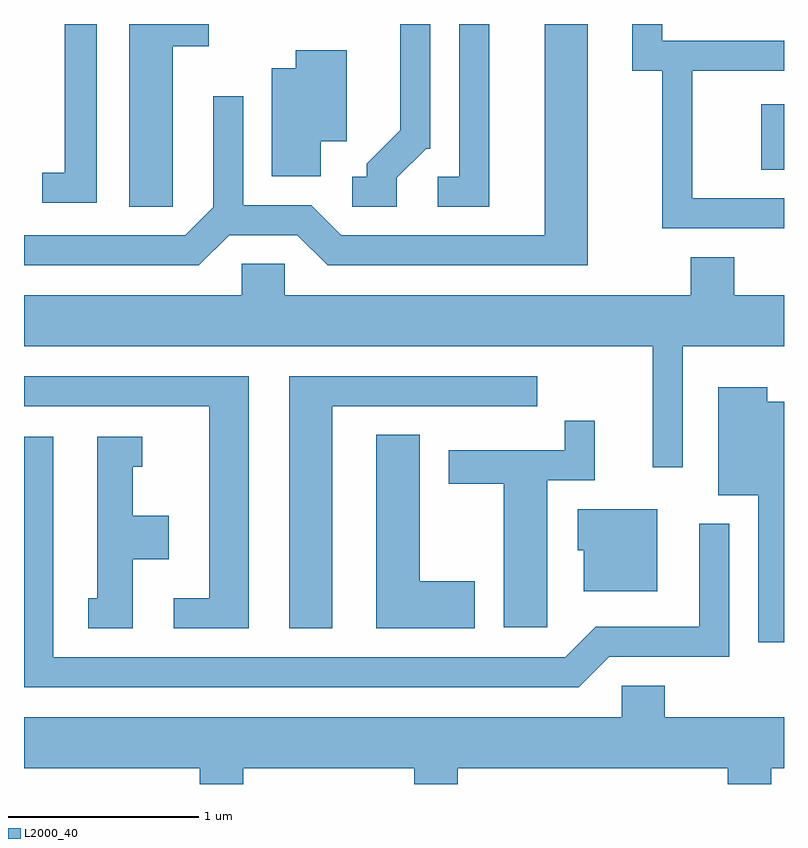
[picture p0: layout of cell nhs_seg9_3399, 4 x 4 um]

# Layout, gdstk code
import gdstk
lib = gdstk.Library(unit=1e-6, precision=1e-09)
def R(c, l, rs):  # rectangles x0, y0, x1, y1
    for r in rs: c.add(gdstk.rectangle(r[:2], r[2:], *l))
def P(c, l, *ps):  # polygons
    for p in ps: c.add(gdstk.Polygon(p, *l))
L2000_40 = (2000, 40)

nhs_seg9_3399 = lib.new_cell('nhs_seg9_3399')
R(nhs_seg9_3399, L2000_40, [(289.491,1961.666,289.611,1962.009)])
P(nhs_seg9_3399, L2000_40, [(286.692,1961.321),(287.049,1961.321),(287.209,1961.161),(288.579,1961.161),(288.579,1962.432),(288.351,1962.432),(288.351,1961.319),(287.282,1961.319),(287.122,1961.479),(286.764,1961.479),(286.764,1962.053),(286.606,1962.053),(286.606,1961.467),(286.459,1961.319),(285.611,1961.319),(285.611,1961.161),(286.532,1961.161)],
  [(288.059,1962.432),(287.901,1962.432),(287.901,1961.629),(287.788,1961.629),(287.788,1961.471),(288.059,1961.471)],
  [(289.611,1961.514),(289.129,1961.514),(289.129,1962.186),(289.611,1962.186),(289.611,1962.344),(288.969,1962.344),(288.969,1962.432),(288.811,1962.432),(288.811,1962.186),(288.971,1962.186),(288.971,1961.356),(289.611,1961.356)],
  [(286.394,1962.316),(286.583,1962.316),(286.583,1962.432),(286.166,1962.432),(286.166,1961.471),(286.394,1961.471)],
  [(287.574,1961.624),(287.727,1961.776),(287.749,1961.776),(287.749,1962.432),(287.591,1962.432),(287.591,1961.872),(287.416,1961.697),(287.416,1961.629),(287.338,1961.629),(287.338,1961.471),(287.574,1961.471)],
  [(285.994,1962.432),(285.826,1962.432),(285.826,1961.649),(285.708,1961.649),(285.708,1961.491),(285.994,1961.491)],
  [(287.174,1961.816),(287.309,1961.816),(287.309,1962.294),(287.041,1962.294),(287.041,1962.199),(286.916,1962.199),(286.916,1961.631),(287.174,1961.631)],
  [(289.079,1960.736),(289.611,1960.736),(289.611,1961.004),(289.349,1961.004),(289.349,1961.204),(289.121,1961.204),(289.121,1961.004),(286.984,1961.004),(286.984,1961.169),(286.756,1961.169),(286.756,1961.004),(285.611,1961.004),(285.611,1960.736),(288.921,1960.736),(288.921,1960.098),(289.079,1960.098)],
  [(286.794,1960.579),(285.611,1960.579),(285.611,1960.421),(286.586,1960.421),(286.586,1959.409),(286.398,1959.409),(286.398,1959.251),(286.794,1959.251)],
  [(287.234,1960.421),(288.313,1960.421),(288.313,1960.579),(287.006,1960.579),(287.006,1959.251),(287.234,1959.251)],
  [(289.611,1960.444),(289.524,1960.444),(289.524,1960.519),(289.266,1960.519),(289.266,1959.951),(289.476,1959.951),(289.476,1959.178),(289.611,1959.178)],
  [(288.364,1960.031),(288.614,1960.031),(288.614,1960.343),(288.456,1960.343),(288.456,1960.189),(287.846,1960.189),(287.846,1960.011),(288.136,1960.011),(288.136,1959.256),(288.364,1959.256)],
  [(287.984,1959.499),(287.694,1959.499),(287.694,1960.269),(287.466,1960.269),(287.466,1959.251),(287.984,1959.251)],
  [(288.692,1959.101),(289.324,1959.101),(289.324,1959.803),(289.166,1959.803),(289.166,1959.259),(288.619,1959.259),(288.459,1959.099),(285.764,1959.099),(285.764,1960.259),(285.611,1960.259),(285.611,1958.941),(288.532,1958.941)],
  [(286.184,1959.616),(286.374,1959.616),(286.374,1959.844),(286.184,1959.844),(286.184,1960.101),(286.233,1960.101),(286.233,1960.259),(285.996,1960.259),(285.996,1959.409),(285.948,1959.409),(285.948,1959.251),(286.184,1959.251)],
  [(288.944,1959.879),(288.526,1959.879),(288.526,1959.661),(288.556,1959.661),(288.556,1959.446),(288.944,1959.446)],
  [(286.764,1958.516),(287.666,1958.516),(287.666,1958.432),(287.894,1958.432),(287.894,1958.516),(289.316,1958.516),(289.316,1958.432),(289.544,1958.432),(289.544,1958.516),(289.611,1958.516),(289.611,1958.784),(288.984,1958.784),(288.984,1958.949),(288.756,1958.949),(288.756,1958.784),(285.611,1958.784),(285.611,1958.516),(286.536,1958.516),(286.536,1958.432),(286.764,1958.432)])

lib.write_gds('nhs_seg9_3399.gds')
